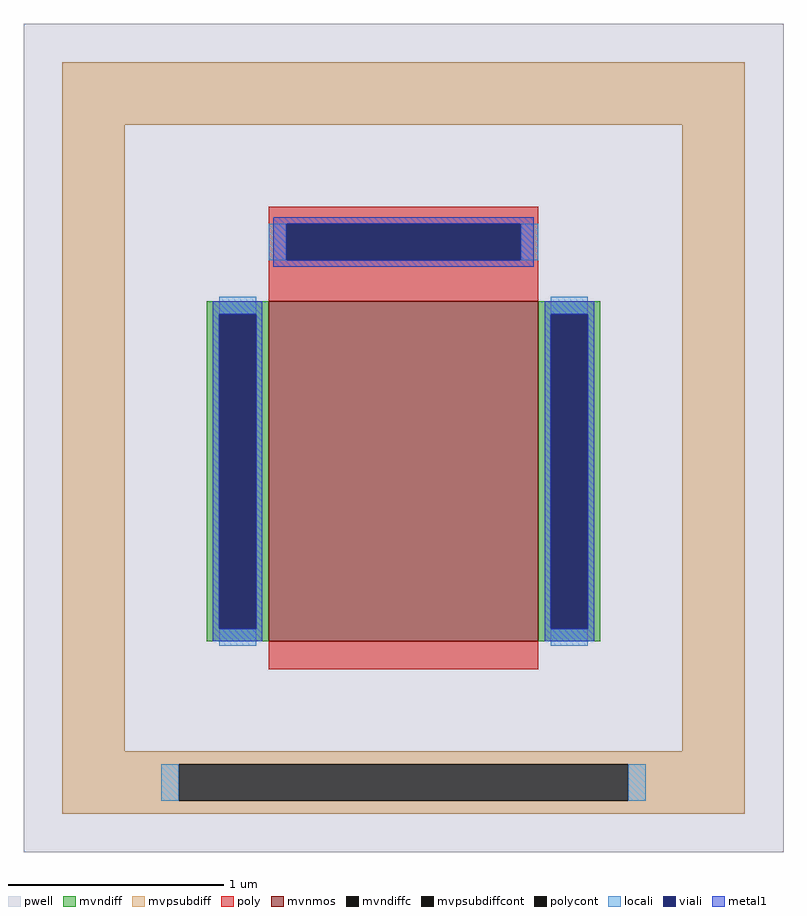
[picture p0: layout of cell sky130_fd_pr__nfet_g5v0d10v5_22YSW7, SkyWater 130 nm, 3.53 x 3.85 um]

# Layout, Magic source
magic
tech sky130A
magscale 1 2
<< pwell >>
rect -353 -385 353 385
<< mvnmos >>
rect -125 -189 125 127
<< mvndiff >>
rect -183 115 -125 127
rect -183 -177 -171 115
rect -137 -177 -125 115
rect -183 -189 -125 -177
rect 125 115 183 127
rect 125 -177 137 115
rect 171 -177 183 115
rect 125 -189 183 -177
<< mvndiffc >>
rect -171 -177 -137 115
rect 137 -177 171 115
<< mvpsubdiff >>
rect -317 291 317 349
rect -317 -291 -259 291
rect 259 -291 317 291
rect -317 -303 317 -291
rect -317 -337 -209 -303
rect 209 -337 317 -303
rect -317 -349 317 -337
<< mvpsubdiffcont >>
rect -209 -337 209 -303
<< poly >>
rect -125 199 125 215
rect -125 165 -109 199
rect 109 165 125 199
rect -125 127 125 165
rect -125 -215 125 -189
<< polycont >>
rect -109 165 109 199
<< locali >>
rect -125 165 -109 199
rect 109 165 125 199
rect -171 115 -137 131
rect -171 -193 -137 -177
rect 137 115 171 131
rect 137 -193 171 -177
rect -225 -337 -209 -303
rect 209 -337 225 -303
<< viali >>
rect -109 165 109 199
rect -171 -177 -137 115
rect 137 -177 171 115
<< metal1 >>
rect -121 199 121 205
rect -121 165 -109 199
rect 109 165 121 199
rect -121 159 121 165
rect -177 115 -131 127
rect -177 -177 -171 115
rect -137 -177 -131 115
rect -177 -189 -131 -177
rect 131 115 177 127
rect 131 -177 137 115
rect 171 -177 177 115
rect 131 -189 177 -177
<< properties >>
string FIXED_BBOX -288 -320 288 320
string gencell sky130_fd_pr__nfet_g5v0d10v5
string library sky130
string parameters w 1.58 l 1.25 m 1 nf 1 diffcov 100 polycov 100 guard 1 glc 0 grc 0 gtc 0 gbc 1 tbcov 100 rlcov 100 topc 1 botc 0 poverlap 0 doverlap 1 lmin 0.50 wmin 0.42 class mosfet compatible {sky130_fd_pr__nfet_01v8 sky130_fd_pr__nfet_01v8_lvt  sky130_fd_bs_flash__special_sonosfet_star  sky130_fd_pr__nfet_g5v0d10v5 sky130_fd_pr__nfet_05v0_nvt  sky130_fd_pr__nfet_03v3_nvt} full_metal 0 viasrc 100 viadrn 100 viagate 100 viagb 0 viagr 0 viagl 0 viagt 0
<< end >>
